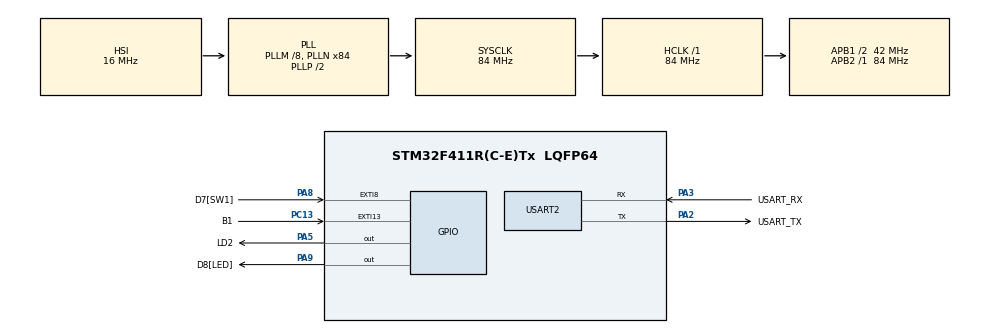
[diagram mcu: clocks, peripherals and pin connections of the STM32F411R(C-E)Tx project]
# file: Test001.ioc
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Mcu.Family=STM32F4
Mcu.Name=STM32F411R(C-E)Tx
Mcu.Package=LQFP64
NVIC.EXTI15_10_IRQn=true\:0\:0\:false\:false\:true\:true\:true\:true
NVIC.EXTI9_5_IRQn=true\:0\:0\:false\:false\:true\:true\:true\:true
NVIC.PriorityGroup=NVIC_PRIORITYGROUP_0
PA13.GPIO_Label=TMS
PA13.Mode=Serial_Wire
PA13.Signal=SYS_JTMS-SWDIO
PA14.GPIO_Label=TCK
PA14.Mode=Serial_Wire
PA14.Signal=SYS_JTCK-SWCLK
PA2.GPIO_Label=USART_TX
PA2.Mode=Asynchronous
PA2.Signal=USART2_TX
PA3.GPIO_Label=USART_RX
PA3.Mode=Asynchronous
PA3.Signal=USART2_RX
PA5.GPIO_Label=LD2
PA5.Signal=GPIO_Output
PA8.GPIO_Label=D7[SW1]
PA8.Signal=GPXTI8
PA9.GPIO_Label=D8[LED]
PA9.Signal=GPIO_Output
PB3.GPIO_Label=SWO
PB3.Signal=SYS_JTDO-SWO
PC13-ANTI_TAMP.GPIO_Label=B1
PC13-ANTI_TAMP.GPIO_ModeDefaultEXTI=GPIO_MODE_IT_RISING
PC13-ANTI_TAMP.Signal=GPXTI13
PC14-OSC32_IN.Mode=LSE-External-Oscillator
PC14-OSC32_IN.Signal=RCC_OSC32_IN
PC15-OSC32_OUT.Mode=LSE-External-Oscillator
PC15-OSC32_OUT.Signal=RCC_OSC32_OUT
PH0\ -\ OSC_IN.Mode=HSE-External-Clock-Source
PH0\ -\ OSC_IN.Signal=RCC_OSC_IN
PH1\ -\ OSC_OUT.Mode=HSE-External-Clock-Source
PH1\ -\ OSC_OUT.Signal=RCC_OSC_OUT
ProjectManager.HeapSize=0x200
ProjectManager.StackSize=0x400
ProjectManager.TargetToolchain=STM32CubeIDE
RCC.48MHZClocksFreq_Value=42000000
RCC.AHBFreq_Value=84000000
RCC.APB1CLKDivider=RCC_HCLK_DIV2
RCC.APB1Freq_Value=42000000
RCC.APB1TimFreq_Value=84000000
RCC.APB2Freq_Value=84000000
RCC.APB2TimFreq_Value=84000000
RCC.CortexFreq_Value=84000000
RCC.FLatency-AdvancedSettings=FLASH_LATENCY_2
RCC.HCLKFreq_Value=84000000
RCC.HSE_VALUE=8000000
RCC.HSI_VALUE=16000000
RCC.PLLM=8
RCC.PLLN=84
RCC.SYSCLKFreq_VALUE=84000000
RCC.SYSCLKSource=RCC_SYSCLKSOURCE_PLLCLK
RCC.VCOOutputFreq_Value=168000000
USART2.VirtualMode=VM_ASYNC
board=NUCLEO-F411RE

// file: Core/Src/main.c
/* USER CODE BEGIN Header */
/**
  ******************************************************************************
  * @file           : main.c
  * @brief          : Main program body
  ******************************************************************************
  * @attention
  *
  * Copyright (c) 2024 STMicroelectronics.
  * All rights reserved.
  *
  * This software is licensed under terms that can be found in the LICENSE file
  * in the root directory of this software component.
  * If no LICENSE file comes with this software, it is provided AS-IS.
  *
  ******************************************************************************
  */
/* USER CODE END Header */
#include "main.h"

/* USER CODE BEGIN Includes */
#include <stdio.h>
/* USER CODE END Includes */

UART_HandleTypeDef huart2;

void SystemClock_Config(void);
static void MX_GPIO_Init(void);
static void MX_USART2_UART_Init(void);

/* USER CODE BEGIN 0 */
void StandBy()
{
	while(HAL_GPIO_ReadPin(B1_GPIO_Port, B1_Pin));	// Wait until B1 == 0 (Press)
}

int mode = 0; // mode=0 : Stop,  mode=1 : Flash
int ival = 1000;	// interval
void HAL_GPIO_EXTI_Callback(uint16_t GPIO_Pin)	// External Interrupt ISR
{
	switch(GPIO_Pin)
	{
	case B1_Pin:	// Start & Stop
		mode=mode?0:1;
		break;
	  //if(mode == 0) mode = 1; else mode = 0;
	case D7_Pin:	// Flash interval
		ival = (ival <= 200) ? 1000 : ival - 200;
		break;
	}
}
/* USER CODE END 0 */

int main(void)
{

  /* MCU Configuration--------------------------------------------------------*/

  /* Reset of all peripherals, Initializes the Flash interface and the Systick. */
  HAL_Init();

  /* Configure the system clock */
  SystemClock_Config();

  /* Initialize all configured peripherals */
  MX_GPIO_Init();
  MX_USART2_UART_Init();
  /* USER CODE BEGIN 2 */

  //StandBy();

  /* USER CODE END 2 */

  /* Infinite loop */
  while (1)
  {

    /* USER CODE BEGIN 3 */
	if(mode)
	{
	  HAL_GPIO_WritePin(LD2_GPIO_Port, LD2_Pin, 1);
	  HAL_Delay(ival); // mili_second
	  HAL_GPIO_WritePin(LD2_GPIO_Port, LD2_Pin, 0);
	  HAL_Delay(ival); // mili_second
	}
  }
  /* USER CODE END 3 */
}

void SystemClock_Config(void)
{
  RCC_OscInitTypeDef RCC_OscInitStruct = {0};
  RCC_ClkInitTypeDef RCC_ClkInitStruct = {0};

  /** Configure the main internal regulator output voltage
  */
  __HAL_RCC_PWR_CLK_ENABLE();
  __HAL_PWR_VOLTAGESCALING_CONFIG(PWR_REGULATOR_VOLTAGE_SCALE1);

  /** Initializes the RCC Oscillators according to the specified parameters
  * in the RCC_OscInitTypeDef structure.
  */
  RCC_OscInitStruct.OscillatorType = RCC_OSCILLATORTYPE_HSI;
  RCC_OscInitStruct.HSIState = RCC_HSI_ON;
  RCC_OscInitStruct.HSICalibrationValue = RCC_HSICALIBRATION_DEFAULT;
  RCC_OscInitStruct.PLL.PLLState = RCC_PLL_ON;
  RCC_OscInitStruct.PLL.PLLSource = RCC_PLLSOURCE_HSI;
  RCC_OscInitStruct.PLL.PLLM = 8;
  RCC_OscInitStruct.PLL.PLLN = 84;
  RCC_OscInitStruct.PLL.PLLP = RCC_PLLP_DIV2;
  RCC_OscInitStruct.PLL.PLLQ = 4;
  if (HAL_RCC_OscConfig(&RCC_OscInitStruct) != HAL_OK)
  {
    Error_Handler();
  }

  /** Initializes the CPU, AHB and APB buses clocks
  */
  RCC_ClkInitStruct.ClockType = RCC_CLOCKTYPE_HCLK|RCC_CLOCKTYPE_SYSCLK
                              |RCC_CLOCKTYPE_PCLK1|RCC_CLOCKTYPE_PCLK2;
  RCC_ClkInitStruct.SYSCLKSource = RCC_SYSCLKSOURCE_PLLCLK;
  RCC_ClkInitStruct.AHBCLKDivider = RCC_SYSCLK_DIV1;
  RCC_ClkInitStruct.APB1CLKDivider = RCC_HCLK_DIV2;
  RCC_ClkInitStruct.APB2CLKDivider = RCC_HCLK_DIV1;

  if (HAL_RCC_ClockConfig(&RCC_ClkInitStruct, FLASH_LATENCY_2) != HAL_OK)
  {
    Error_Handler();
  }
}

static void MX_USART2_UART_Init(void)
{

  huart2.Instance = USART2;
  huart2.Init.BaudRate = 115200;
  huart2.Init.WordLength = UART_WORDLENGTH_8B;
  huart2.Init.StopBits = UART_STOPBITS_1;
  huart2.Init.Parity = UART_PARITY_NONE;
  huart2.Init.Mode = UART_MODE_TX_RX;
  huart2.Init.HwFlowCtl = UART_HWCONTROL_NONE;
  huart2.Init.OverSampling = UART_OVERSAMPLING_16;
  if (HAL_UART_Init(&huart2) != HAL_OK)
  {
    Error_Handler();
  }

}

static void MX_GPIO_Init(void)
{
  GPIO_InitTypeDef GPIO_InitStruct = {0};

  /* GPIO Ports Clock Enable */
  __HAL_RCC_GPIOC_CLK_ENABLE();
  __HAL_RCC_GPIOH_CLK_ENABLE();
  __HAL_RCC_GPIOA_CLK_ENABLE();
  __HAL_RCC_GPIOB_CLK_ENABLE();

  /*Configure GPIO pin Output Level */
  HAL_GPIO_WritePin(GPIOA, LD2_Pin|D8_Pin, GPIO_PIN_RESET);

  /*Configure GPIO pin : B1_Pin */
  GPIO_InitStruct.Pin = B1_Pin;
  GPIO_InitStruct.Mode = GPIO_MODE_IT_RISING;
  GPIO_InitStruct.Pull = GPIO_NOPULL;
  HAL_GPIO_Init(B1_GPIO_Port, &GPIO_InitStruct);

  /*Configure GPIO pins : LD2_Pin D8_Pin */
  GPIO_InitStruct.Pin = LD2_Pin|D8_Pin;
  GPIO_InitStruct.Mode = GPIO_MODE_OUTPUT_PP;
  GPIO_InitStruct.Pull = GPIO_NOPULL;
  GPIO_InitStruct.Speed = GPIO_SPEED_FREQ_LOW;
  HAL_GPIO_Init(GPIOA, &GPIO_InitStruct);

  /*Configure GPIO pin : D7_Pin */
  GPIO_InitStruct.Pin = D7_Pin;
  GPIO_InitStruct.Mode = GPIO_MODE_IT_RISING;
  GPIO_InitStruct.Pull = GPIO_NOPULL;
  HAL_GPIO_Init(D7_GPIO_Port, &GPIO_InitStruct);

  /* EXTI interrupt init*/
  HAL_NVIC_SetPriority(EXTI9_5_IRQn, 0, 0);
  HAL_NVIC_EnableIRQ(EXTI9_5_IRQn);

  HAL_NVIC_SetPriority(EXTI15_10_IRQn, 0, 0);
  HAL_NVIC_EnableIRQ(EXTI15_10_IRQn);

}

void Error_Handler(void)
{
  __disable_irq();
  while (1)
  {
  }
}
